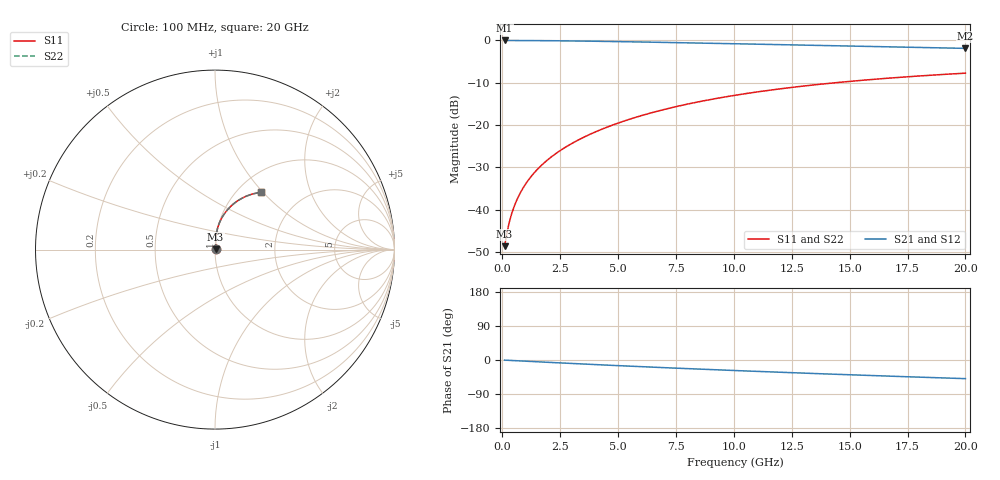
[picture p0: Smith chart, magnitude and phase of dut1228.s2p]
! Touchstone file exported from HFSS 2024.1.0
!  File:  C:/UserFiles/LocalFiles/RDL_TSV_Batchsim/temp_RDL_top_1228_1780240512.aedt
!  Generated:  11:17:45 PM May 31, 2026
!  Design:  RDL_top
!  Project:  temp_RDL_top_1228_1780240512
!  Setup:  Setup1
!  Solution:  Sweep
! Variables:
!  dtsv = 10.80580581um
!  hbump = 3um
!  htsv = 75.24um
!  ldown = 100um
!  lrdl = 689.62um
!  p = 40
!  p1 = 59.71um
!  rhole = 1um
!  t = 450um
!  tdown = 3.915915916um
!  trdl = 3.31um
!  wdown = 15.38538539um
!  wrdl = 26.59um
# GHz S MA R 50.000000
! Terminal data exported
! Port[1] = Box2_T1
! Port[2] = Box2_T2
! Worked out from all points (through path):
!   200 points, 100 MHz to 20 GHz, reference 50 ohm
!   highest |S21| = -0.03 dB at 100 MHz (marker M1); lowest = -1.9 dB at 20 GHz (marker M2)
!   group delay of S21, straight-line fit = 6.76 ps
!   lowest |S11| = -48.6 dB at 100 MHz (marker M3), VSWR 1.01, Z = 50.3 + j0.221 ohm
!   |S11| at or under -10 dB: start of sweep to 14.38 GHz
!   |S22| runs from -48.6 to -7.7 dB; largest |S21 - S12| = 7.3e-15
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0.1  0.003731 36.0  0.997 -0.3  0.997 -0.3  0.003731 36.0
! Gamma 0 0 0 0
! Port Impedance 50 0 50 0
0.2  0.005343 53.3  0.9967 -0.6  0.9967 -0.6  0.005343 53.3
0.3  0.007119 61.8  0.9965 -1.0  0.9965 -1.0  0.007119 61.8
0.4  0.00892 66.9  0.9963 -1.3  0.9963 -1.3  0.00892 66.9
0.5  0.01074 70.4  0.996 -1.6  0.996 -1.6  0.01074 70.4
0.6  0.01257 73.0  0.9958 -1.9  0.9958 -1.9  0.01257 73.0
0.8  0.01628 76.7  0.9953 -2.5  0.9953 -2.5  0.01628 76.7
1.1  0.02198 80.0  0.9944 -3.4  0.9944 -3.4  0.02198 80.0
1.3  0.02585 81.4  0.9937 -4.0  0.9937 -4.0  0.02585 81.4
1.6  0.03175 82.9  0.9925 -5.0  0.9925 -5.0  0.03175 82.9
2.1  0.04181 84.3  0.99 -6.5  0.99 -6.5  0.04181 84.3
2.7  0.05427 85.2  0.9863 -8.3  0.9863 -8.3  0.05427 85.1
3.5  0.07154 85.3  0.9803 -10.6  0.9803 -10.6  0.07153 85.3
4.2  0.08721 84.9  0.9742 -12.6  0.9742 -12.6  0.08719 84.9
5  0.1056 84.0  0.9666 -14.9  0.9666 -14.9  0.1056 84.0
6.8  0.1483 80.9  0.9478 -19.7  0.9478 -19.7  0.1483 80.8
8.4  0.1865 77.3  0.9302 -23.8  0.9302 -23.8  0.1864 77.3
10.1  0.226 73.3  0.9112 -27.9  0.9112 -27.9  0.2259 73.3
11.7  0.2614 69.5  0.8933 -31.7  0.8933 -31.7  0.2613 69.4
13.4  0.2969 65.4  0.8744 -35.5  0.8744 -35.5  0.2968 65.4
16.7  0.3584 57.9  0.8384 -42.6  0.8384 -42.6  0.3582 57.9
20  0.41 51.1  0.804 -49.2  0.804 -49.2  0.4098 51.0
